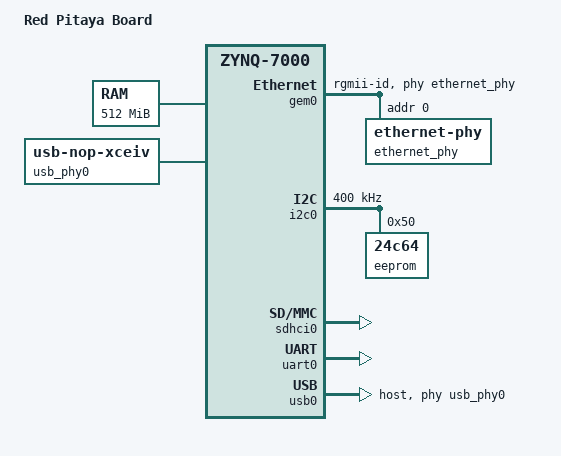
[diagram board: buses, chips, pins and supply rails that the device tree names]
// SPDX-License-Identifier: GPL-2.0+
/*
 *  Copyright (C) 2011 - 2015 Xilinx
 *  Copyright (C) 2012 National Instruments Corp.
 */
/dts-v1/;
#include "zynq-7000.dtsi"

/ {
	model = "Red Pitaya Board";
	compatible = "xlnx,zynq-red-pitaya", "xlnx,zynq-7000";

	aliases {
		ethernet0 = &gem0;
		serial0 = &uart0;
		mmc0 = &sdhci0;
		i2c0 = &i2c0;
		//spi0 = &qspi;
		nvmem0 = &eeprom;
		//rtc0 = &rtc;
	};

	memory@0 {
		device_type = "memory";
		reg = <0x0 0x20000000>;
	};

	chosen {
		bootargs = "earlycon";
		stdout-path = "serial0:115200n8";
	};

	usb_phy0: phy0 {
		compatible = "usb-nop-xceiv";
		#phy-cells = <0>;
	};
};

&clkc {
	ps-clk-frequency = <33333333>;
};

&gem0 {
	status = "okay";
	phy-mode = "rgmii-id";
	phy-handle = <&ethernet_phy>;

	ethernet_phy: ethernet-phy@0 {
		reg = <0>;
		device_type = "ethernet-phy";
	};
};

&i2c0 {
	status = "okay";
	clock-frequency = <400000>;
	eeprom: eeprom@50 {
		compatible = "24c64";
		reg = <0x50>;
	};
};

&sdhci0 {
	bootph-all;
	status = "okay";
};

&uart0 {
	bootph-all;
	status = "okay";
};

&usb0 {
	status = "okay";
	dr_mode = "host";
	usb-phy = <&usb_phy0>;
};

//&qspi {
//	status = "okay";
//	num-cs = <1>;
//	flash@0 {
//		compatible = "micron,m25p128";
//		reg = <0x0>;
//		spi-tx-bus-width = <4>;
//		spi-rx-bus-width = <4>;
//		spi-max-frequency = <50000000>;
//	};
//};
